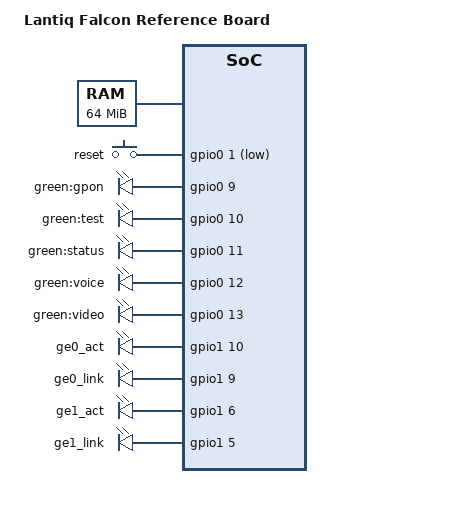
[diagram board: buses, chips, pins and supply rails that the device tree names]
#include "falcon.dtsi"
#include "falcon_sflash-16m.dtsi"

#include <dt-bindings/gpio/gpio.h>

/ {
	model = "Lantiq Falcon Reference Board";
	compatible = "lantiq,easy98020", "lantiq,falcon";

	aliases {
		spi0 = &ebu_cs0;
	};

	memory@0 {
		device_type = "memory";
		reg = <0x0 0x4000000>;  // 64M at 0x0
	};

	keys {
		compatible = "gpio-keys";
		reset {
			label = "reset";
			gpios = <&gpio0 1 GPIO_ACTIVE_LOW>;
			linux,code = <0x198>;
		};
	};

	pinctrl {
		led_pins: phy-led-pins {
			lantiq,pins = "io42", "io41", "io38", "io37";
			lantiq,function = "gpio";
		};
	};

	leds {
		compatible = "gpio-leds";
		pinctrl-names = "default";
		pinctrl-0 = <&bootled_pins>, <&led_pins>;

		GPON {
			label = "green:gpon";
			gpios = <&gpio0 9 GPIO_ACTIVE_HIGH>;
			default-state = "keep";
		};
		TEST {
			label = "green:test";
			gpios = <&gpio0 10 GPIO_ACTIVE_HIGH>;
			default-state = "keep";
		};
		ETH {
			label = "green:status";
			gpios = <&gpio0 11 GPIO_ACTIVE_HIGH>;
			default-state = "keep";
		};
		VOICE {
			label = "green:voice";
			gpios = <&gpio0 12 GPIO_ACTIVE_HIGH>;
			default-state = "keep";
		};
		VIDEO {
			label = "green:video";
			gpios = <&gpio0 13 GPIO_ACTIVE_HIGH>;
			default-state = "keep";
		};

		GE0_ACT {
			label = "ge0_act";
			gpios = <&gpio1 10 GPIO_ACTIVE_HIGH>;
		};
		GE0_LINK {
			label = "ge0_link";
			gpios = <&gpio1 9 GPIO_ACTIVE_HIGH>;
		};
		GE1_ACT {
			label = "ge1_act";
			gpios = <&gpio1 6 GPIO_ACTIVE_HIGH>;
		};
		GE1_LINK {
			label = "ge1_link";
			gpios = <&gpio1 5 GPIO_ACTIVE_HIGH>;
		};
	};
};
